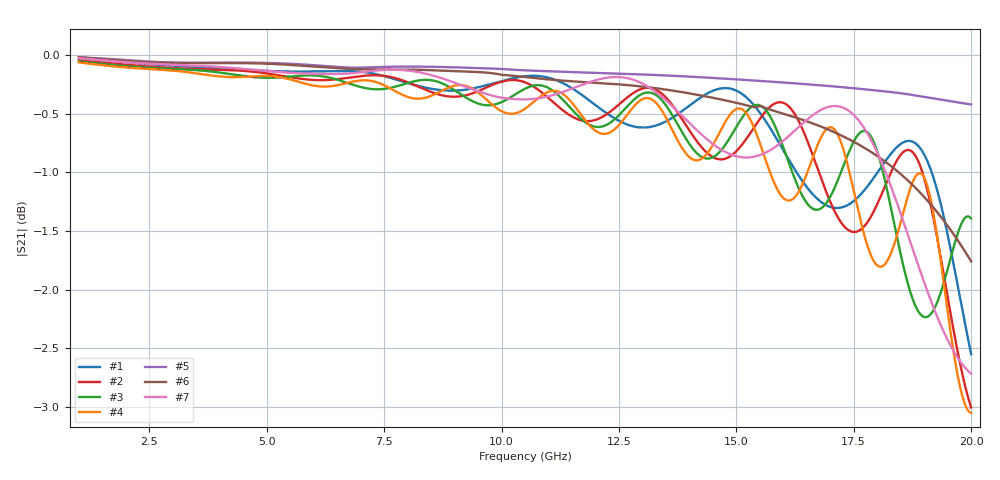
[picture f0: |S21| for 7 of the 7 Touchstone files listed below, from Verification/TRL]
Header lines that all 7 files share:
! Touchstone file from project TestMultiLine
! Exported from HFSS 14.0.0
! Variables:
!Data is not renormalized
# GHZ S MA
! Modal data exported
! Port[1] = 1:1
! Port[2] = 2:1
Fixed: hair = 35mm, hsub = 0.762mm, lmic = 14mm, w = 25mm, wair = 40mm, wmic = 2.1mm
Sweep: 1 GHz to 20 GHz
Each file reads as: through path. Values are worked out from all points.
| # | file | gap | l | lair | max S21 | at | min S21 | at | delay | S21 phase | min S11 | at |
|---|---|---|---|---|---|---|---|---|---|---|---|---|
| 1 | L1.s2p | 3.5mm | 31.5mm | 50mm | -0.03 dB | 1 GHz | -2.5 dB | 20 GHz | 161 ps | 122 deg at 10.52 GHz | -46.1 dB | 1.52 GHz |
| 2 | L2.s2p | 14.38mm | 42.38mm | 50mm | -0.04 dB | 1 GHz | -3.0 dB | 20 GHz | 216 ps | -82 deg at 10.52 GHz | -50.7 dB | 1 GHz |
| 3 | L3.s2p | 22.07mm | 50.07mm | 55mm | -0.05 dB | 1 GHz | -2.2 dB | 19.04 GHz | 254 ps | 136 deg at 10.52 GHz | -40.4 dB | 1 GHz |
| 4 | L4.s2p | 29.87mm | 57.87mm | 62mm | -0.06 dB | 1 GHz | -3.1 dB | 20 GHz | 293 ps | -9 deg at 10.52 GHz | -47.4 dB | 1.28 GHz |
| 5 | SA.s2p | 0mm | 28mm | 40mm | -0.02 dB | 1 GHz | -0.4 dB | 20 GHz | 71.2 ps | 94 deg at 10.52 GHz | -42.0 dB | 1 GHz |
| 6 | SB.s2p | 0mm | 28mm | 40mm | -0.02 dB | 1 GHz | -1.8 dB | 20 GHz | 72.9 ps | 91 deg at 10.52 GHz | -39.7 dB | 1 GHz |
| 7 | T.s2p | 0mm | 28mm | 40mm | -0.03 dB | 1 GHz | -2.7 dB | 20 GHz | 144 ps | -173 deg at 10.52 GHz | -45.9 dB | 2.16 GHz |
